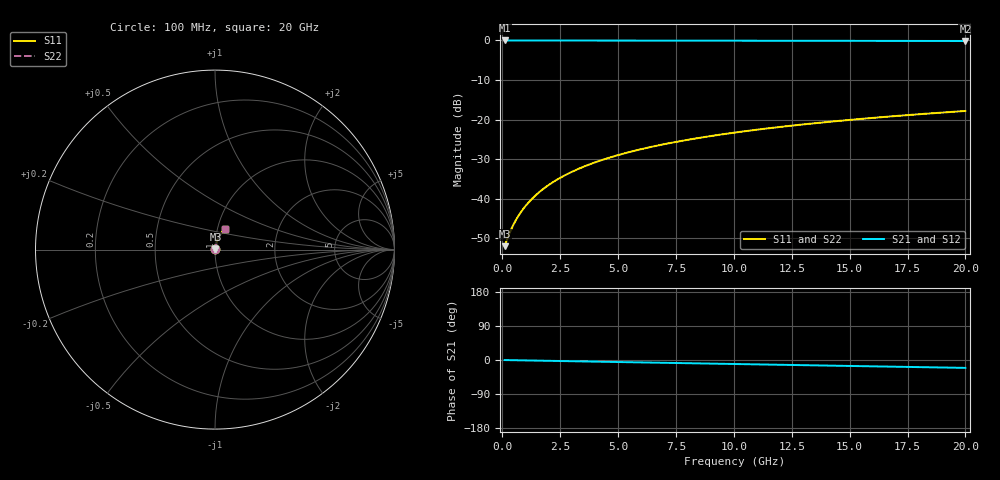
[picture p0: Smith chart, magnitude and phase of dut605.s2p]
! Touchstone file exported from HFSS 2026.1.0
!  File:  C:/ffzhzh/LocalFiles/Ansys_Project_Files/temp_train_BSMRDL_605_1783016143_4048.aedt
!  Generated:  02:17:03 AM Jul  3, 2026
!  Design:  BSMRDL
!  Project:  temp_train_BSMRDL_605_1783016143_4048
! Variables:
!  h_bsmrdl = 3.7um
!  h_ox = 20um
!  h_rdl = 5um
!  h_sub = 80um
!  h_tmrdl = 5um
!  h_tsv = 80um
!  h_via = 3um
!  l_bsmrdl = 340.05um
!  l_sub = 740.05um
!  l_tmrdl = 200um
!  m_sub = 200um
!  pitch = 23.72um
!  r_tsv = 6um
!  s_tmrdl = 10um
!  w_bsmrdl = 14.78um
!  w_sub = 500um
!  w_tmrdl = 12um
!  x_tsv_center1 = 206um
!  x_tsv_center2 = 560.83um
!  x_tsv_center3 = 772.83um
!  x_tsv_center4 = 1127.66um
!  x_tsv_center5 = 1339.66um
!  x_tsv_center6 = 1694.49um
# GHz S MA R 50.000000
! Terminal data exported
! Port[1] = BSM_RDL1_1_T1
! Port[2] = BSM_RDL1_1_T2
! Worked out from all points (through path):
!   200 points, 100 MHz to 20 GHz, reference 50 ohm
!   highest |S21| = -0.02 dB at 100 MHz (marker M1); lowest = -0.2 dB at 20 GHz (marker M2)
!   group delay of S21, straight-line fit = 2.88 ps
!   lowest |S11| = -51.9 dB at 100 MHz (marker M3), VSWR 1.01, Z = 50.2 + j0.0893 ohm
!   |S11| at or under -10 dB: start of sweep to end of sweep
!   |S22| runs from -51.9 to -17.8 dB; largest |S21 - S12| = 3.5e-15
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0.1  0.002527 20.6  0.9976 -0.1  0.9976 -0.1  0.002527 20.6
! Gamma 0 0 0 0
! Port Impedance 50 0 50 0
0.3  0.003607 43.9  0.9974 -0.3  0.9974 -0.3  0.003608 43.9
0.4  0.004224 50.1  0.9973 -0.5  0.9973 -0.5  0.004224 50.1
0.6  0.005479 58.1  0.9971 -0.7  0.9971 -0.7  0.005479 58.1
0.7  0.006119 61.0  0.9971 -0.8  0.9971 -0.8  0.006119 61.0
0.9  0.007425 65.3  0.9969 -1.0  0.9969 -1.0  0.007425 65.3
1.1  0.008761 68.4  0.9969 -1.2  0.9969 -1.2  0.008761 68.4
1.3  0.01012 70.6  0.9968 -1.4  0.9968 -1.4  0.01012 70.6
1.7  0.01287 73.5  0.9966 -1.8  0.9966 -1.8  0.01287 73.5
2.2  0.01633 75.6  0.9964 -2.4  0.9964 -2.4  0.01633 75.6
2.8  0.02051 76.8  0.9962 -3.0  0.9962 -3.0  0.02051 76.8
3.5  0.02537 77.4  0.9958 -3.8  0.9958 -3.8  0.02537 77.4
4.2  0.03019 77.5  0.9953 -4.5  0.9953 -4.5  0.03019 77.5
5  0.03565 77.3  0.9948 -5.4  0.9948 -5.4  0.03565 77.3
5.9  0.04172 76.8  0.9941 -6.3  0.9941 -6.3  0.04172 76.8
6.8  0.0477 76.2  0.9934 -7.3  0.9934 -7.3  0.0477 76.2
8.3  0.05749 75.0  0.9922 -8.8  0.9922 -8.8  0.05749 75.0
10.1  0.06899 73.5  0.9906 -10.7  0.9906 -10.7  0.06899 73.5
11.7  0.07901 72.1  0.9892 -12.3  0.9892 -12.3  0.07901 72.1
13.4  0.08947 70.6  0.9877 -14.1  0.9877 -14.1  0.08947 70.6
16.7  0.1093 67.7  0.9847 -17.5  0.9847 -17.5  0.1093 67.7
20  0.1285 64.7  0.9815 -20.8  0.9815 -20.8  0.1285 64.7
